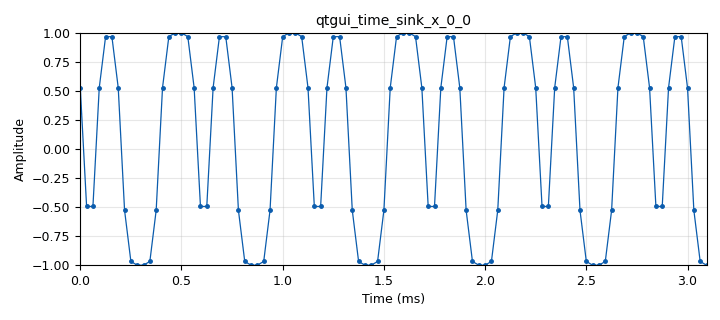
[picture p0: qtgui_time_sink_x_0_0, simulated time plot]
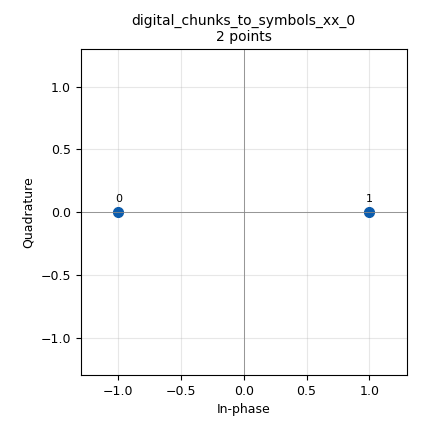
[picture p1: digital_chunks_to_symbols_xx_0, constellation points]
options:
  parameters:
    generate_options: qt_gui
    id: gfsk_test_graph
    output_language: python
    title: Not titled yet
  states: {}

blocks:
- name: samp_rate
  id: variable
  parameters:
    value: '32000'
  states: {}
- name: analog_const_source_x_0
  id: analog_const_source_x
  parameters:
    const: '1.0'
    type: float
  states: {state: disabled}
- name: analog_quadrature_demod_cf_0
  id: analog_quadrature_demod_cf
  parameters:
    gain: '1'
  states: {}
- name: blocks_delay_0
  id: blocks_delay
  parameters:
    delay: '0'
    type: float
  states: {state: disabled}
- name: blocks_file_sink_0
  id: blocks_file_sink
  parameters:
    file: tmp/vector_source_data.dat
    type: byte
    unbuffered: 'True'
  states: {}
- name: blocks_file_sink_1
  id: blocks_file_sink
  parameters:
    file: tmp/stream_to_tagged_stream_data.dat
    type: byte
    unbuffered: 'True'
  states: {}
- name: blocks_file_sink_2
  id: blocks_file_sink
  parameters:
    file: tmp/throttle.dat
    type: byte
    unbuffered: 'True'
  states: {}
- name: blocks_file_sink_3
  id: blocks_file_sink
  parameters:
    file: tmp/gfsk_mod.dat
    type: complex
    unbuffered: 'True'
  states: {}
- name: blocks_file_sink_4
  id: blocks_file_sink
  parameters:
    file: tmp/gfsk_demod.data
    type: byte
    unbuffered: 'True'
  states: {}
- name: blocks_file_sink_4_0
  id: blocks_file_sink
  parameters:
    file: tmp/gfsk_demod_custom.data
    type: byte
    unbuffered: 'True'
  states: {}
- name: blocks_file_sink_4_0_0
  id: blocks_file_sink
  parameters:
    file: tmp/quadrature_demod_output.data
    type: float
    unbuffered: 'True'
  states: {}
- name: blocks_file_sink_4_0_0_0
  id: blocks_file_sink
  parameters:
    file: tmp/symbol_sink_output.data
    type: float
    unbuffered: 'True'
  states: {}
- name: blocks_file_sink_5
  id: blocks_file_sink
  parameters:
    file: tmp/chunks_to_symbols.dat
    type: float
    unbuffered: 'True'
  states: {}
- name: blocks_head_0
  id: blocks_head
  parameters:
    num_items: '120'
    type: byte
  states: {}
- name: blocks_multiply_xx_0
  id: blocks_multiply_xx
  parameters:
    type: float
  states: {state: disabled}
- name: blocks_stream_to_tagged_stream_0
  id: blocks_stream_to_tagged_stream
  parameters:
    len_tag_key: '"packet_len"'
    packet_len: '9'
    type: byte
  states: {}
- name: blocks_throttle2_0
  id: blocks_throttle2
  parameters:
    samples_per_second: samp_rate
    type: byte
  states: {}
- name: blocks_uchar_to_float_0
  id: blocks_uchar_to_float
  parameters: {}
  states: {state: disabled}
- name: blocks_uchar_to_float_1
  id: blocks_uchar_to_float
  parameters: {}
  states: {state: disabled}
- name: blocks_uchar_to_float_1_0
  id: blocks_uchar_to_float
  parameters: {}
  states: {state: disabled}
- name: blocks_vector_source_x_0
  id: blocks_vector_source_x
  parameters:
    repeat: 'True'
    type: byte
    vector: (0, 0, 0, 1, 1, 1, 0, 1, 1)
  states: {}
- name: digital_binary_slicer_fb_0
  id: digital_binary_slicer_fb
  parameters: {}
  states: {}
- name: digital_chunks_to_symbols_xx_0
  id: digital_chunks_to_symbols_xx
  parameters:
    dimension: '1'
    in_type: byte
    out_type: float
    symbol_table: '[-1, 1]'
  states: {}
- name: digital_gfsk_demod_0
  id: digital_gfsk_demod
  parameters:
    freq_error: '0.0'
    gain_mu: '0.175'
    mu: '0.5'
    omega_relative_limit: '0.005'
    samples_per_symbol: '2'
    sensitivity: '1.0'
  states: {}
- name: digital_gfsk_mod_0
  id: digital_gfsk_mod
  parameters:
    bt: '0.35'
    do_unpack: 'False'
    samples_per_symbol: '2'
    sensitivity: '1.0'
  states: {}
- name: digital_symbol_sync_xx_0
  id: digital_symbol_sync_xx
  parameters:
    damping: '1.0'
    loop_bw: '0.045'
    max_dev: '1.5'
    osps: '1'
    resamp_type: digital.IR_MMSE_8TAP
    sps: '2'
    ted_gain: '1.0'
    ted_type: digital.TED_MUELLER_AND_MULLER
    type: ff
  states: {}
- name: qtgui_time_sink_x_0
  id: qtgui_time_sink_x
  parameters:
    grid: 'True'
    marker1: '1'
    marker2: '8'
    nconnections: '2'
    size: '100'
    srate: samp_rate
    type: float
  states: {state: disabled}
- name: qtgui_time_sink_x_0_0
  id: qtgui_time_sink_x
  parameters:
    grid: 'True'
    marker1: '1'
    size: '100'
    srate: samp_rate
    type: float
  states: {}

connections:
- [analog_const_source_x_0, '0', blocks_multiply_xx_0, '1']
- [analog_quadrature_demod_cf_0, '0', blocks_file_sink_4_0_0, '0']
- [analog_quadrature_demod_cf_0, '0', digital_symbol_sync_xx_0, '0']
- [analog_quadrature_demod_cf_0, '0', qtgui_time_sink_x_0_0, '0']
- [blocks_delay_0, '0', blocks_multiply_xx_0, '0']
- [blocks_head_0, '0', blocks_stream_to_tagged_stream_0, '0']
- [blocks_multiply_xx_0, '0', qtgui_time_sink_x_0, '1']
- [blocks_stream_to_tagged_stream_0, '0', blocks_file_sink_1, '0']
- [blocks_stream_to_tagged_stream_0, '0', blocks_throttle2_0, '0']
- [blocks_stream_to_tagged_stream_0, '0', blocks_uchar_to_float_0, '0']
- [blocks_throttle2_0, '0', blocks_file_sink_2, '0']
- [blocks_throttle2_0, '0', digital_chunks_to_symbols_xx_0, '0']
- [blocks_throttle2_0, '0', digital_gfsk_mod_0, '0']
- [blocks_uchar_to_float_0, '0', blocks_delay_0, '0']
- [blocks_uchar_to_float_1, '0', qtgui_time_sink_x_0, '0']
- [blocks_uchar_to_float_1_0, '0', qtgui_time_sink_x_0, '0']
- [blocks_vector_source_x_0, '0', blocks_file_sink_0, '0']
- [blocks_vector_source_x_0, '0', blocks_head_0, '0']
- [digital_binary_slicer_fb_0, '0', blocks_file_sink_4_0, '0']
- [digital_binary_slicer_fb_0, '0', blocks_uchar_to_float_1_0, '0']
- [digital_chunks_to_symbols_xx_0, '0', blocks_file_sink_5, '0']
- [digital_gfsk_demod_0, '0', blocks_file_sink_4, '0']
- [digital_gfsk_demod_0, '0', blocks_uchar_to_float_1, '0']
- [digital_gfsk_mod_0, '0', analog_quadrature_demod_cf_0, '0']
- [digital_gfsk_mod_0, '0', blocks_file_sink_3, '0']
- [digital_gfsk_mod_0, '0', digital_gfsk_demod_0, '0']
- [digital_symbol_sync_xx_0, '0', blocks_file_sink_4_0_0_0, '0']
- [digital_symbol_sync_xx_0, '0', digital_binary_slicer_fb_0, '0']

metadata:
  file_format: 1
  grc_version: 3.10.12.0
